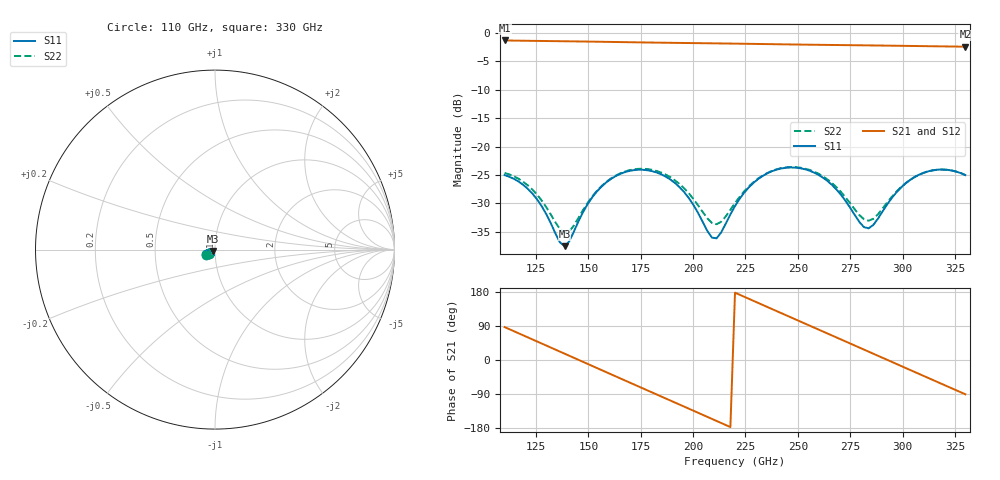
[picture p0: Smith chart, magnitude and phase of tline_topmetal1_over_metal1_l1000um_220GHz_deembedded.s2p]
! Created with skrf 2.2.0 (http://scikit-rf.org).
# GHz S DB R 50.0
! Port[1] = P1
! Port[2] = P2
!freq dBS11 angS11 dBS21 angS21 dBS12 angS12 dBS22 angS22
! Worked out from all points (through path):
!   101 points, 110 GHz to 330 GHz, reference 50 ohm
!   highest |S21| = -1.30 dB at 110 GHz (marker M1); lowest = -2.4 dB at 330 GHz (marker M2)
!   group delay of S21, straight-line fit = 6.78 ps
!   lowest |S11| = -37.6 dB at 138.6 GHz (marker M3), VSWR 1.03, Z = 49 - j0.801 ohm
!   |S11| at or under -10 dB: start of sweep to end of sweep
!   |S22| runs from -35.2 to -23.6 dB; largest |S21 - S12| = 1.4e-13
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110  -25.04 -154.6  -1.30 86.9  -1.30 86.9  -24.66 -150.7
123.2  -28.27 -177.9  -1.37 54.5  -1.37 54.5  -27.56 -172.4
138.6  -37.56 -141.8  -1.45 16.8  -1.45 16.8  -35.20 -146.1
147.4  -31.59 -103.2  -1.49 -4.8  -1.49 -4.8  -31.23 -109.8
156.2  -27.09 -110.0  -1.54 -26.4  -1.54 -26.4  -27.00 -112.5
167.2  -24.54 -129.2  -1.60 -53.3  -1.60 -53.3  -24.43 -129.2
176  -24.10 -146.1  -1.65 -74.9  -1.65 -74.9  -23.92 -144.8
184.8  -24.90 -162.6  -1.70 -96.3  -1.70 -96.3  -24.60 -159.9
195.8  -28.07 -178.7  -1.75 -123.2  -1.75 -123.2  -27.39 -173.9
209  -36.06 -153.2  -1.81 -155.5  -1.81 -155.5  -33.47 -154.0
213.4  -35.15 -121.2  -1.83 -166.2  -1.83 -166.2  -33.26 -131.3
220  -30.49 -105.0  -1.86 177.6  -1.86 177.6  -29.97 -114.1
228.8  -26.41 -111.5  -1.91 156.1  -1.91 156.1  -26.29 -116.7
239.8  -24.08 -129.4  -1.97 129.3  -1.97 129.3  -24.02 -132.1
257.4  -24.53 -160.4  -2.06 86.4  -2.06 86.4  -24.37 -160.6
268.4  -27.55 -174.4  -2.11 59.6  -2.11 59.6  -27.15 -173.2
281.6  -34.21 -151.9  -2.16 27.4  -2.16 27.4  -32.82 -153.8
286  -33.83 -126.7  -2.18 16.7  -2.18 16.7  -32.74 -133.3
294.8  -29.10 -108.7  -2.23 -4.8  -2.23 -4.8  -28.90 -114.7
303.6  -25.89 -115.4  -2.27 -26.3  -2.27 -26.3  -25.87 -119.4
314.6  -24.17 -131.6  -2.33 -53.0  -2.33 -53.0  -24.19 -134.1
330  -25.05 -155.1  -2.40 -90.5  -2.40 -90.5  -25.02 -156.2
